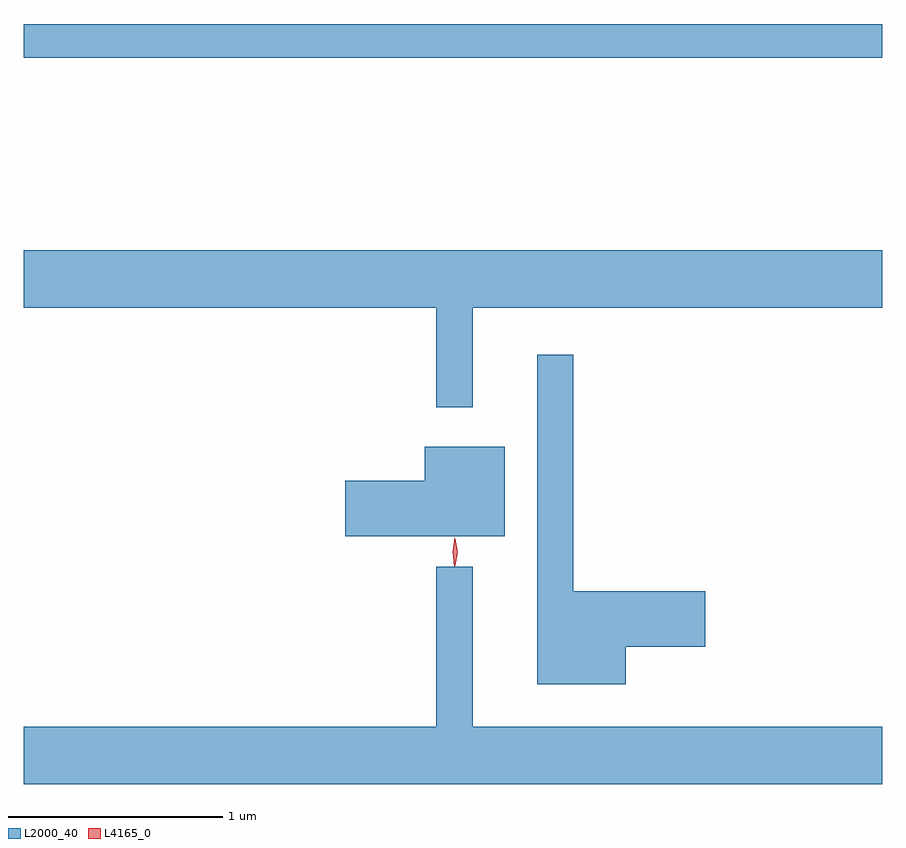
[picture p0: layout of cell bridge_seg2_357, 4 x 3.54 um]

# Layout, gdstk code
import gdstk
lib = gdstk.Library(unit=1e-6, precision=1e-09)
def R(c, l, rs):  # rectangles x0, y0, x1, y1
    for r in rs: c.add(gdstk.rectangle(r[:2], r[2:], *l))
def P(c, l, *ps):  # polygons
    for p in ps: c.add(gdstk.Polygon(p, *l))
L2000_40 = (2000, 40)
L4165_0 = (4165, 0)

bridge_seg2_357 = lib.new_cell('bridge_seg2_357')
R(bridge_seg2_357, L2000_40, [(321.838,1002.861,325.838,1003.019)])
P(bridge_seg2_357, L2000_40, [(323.929,1001.696),(325.838,1001.696),(325.838,1001.964),(321.838,1001.964),(321.838,1001.696),(323.761,1001.696),(323.761,1001.233),(323.929,1001.233)],
  [(324.644,1000.116),(325.014,1000.116),(325.014,1000.374),(324.399,1000.374),(324.399,1001.478),(324.231,1001.478),(324.231,999.941),(324.644,999.941)],
  [(324.079,1001.049),(323.706,1001.049),(323.706,1000.889),(323.336,1000.889),(323.336,1000.631),(324.079,1000.631)],
  [(325.838,999.744),(323.929,999.744),(323.929,1000.488),(323.761,1000.488),(323.761,999.744),(321.838,999.744),(321.838,999.476),(325.838,999.476)])
P(bridge_seg2_357, L4165_0, [(323.848,1000.493),(323.839,1000.556),(323.848,1000.619),(323.849,1000.62),(323.849,1000.619),(323.859,1000.556),(323.849,1000.493),(323.849,1000.493)],
  [(323.844,1000.49),(323.836,1000.558),(323.846,1000.625),(323.847,1000.626),(323.847,1000.625),(323.856,1000.558),(323.846,1000.49),(323.845,1000.49)])

lib.write_gds('bridge_seg2_357.gds')
